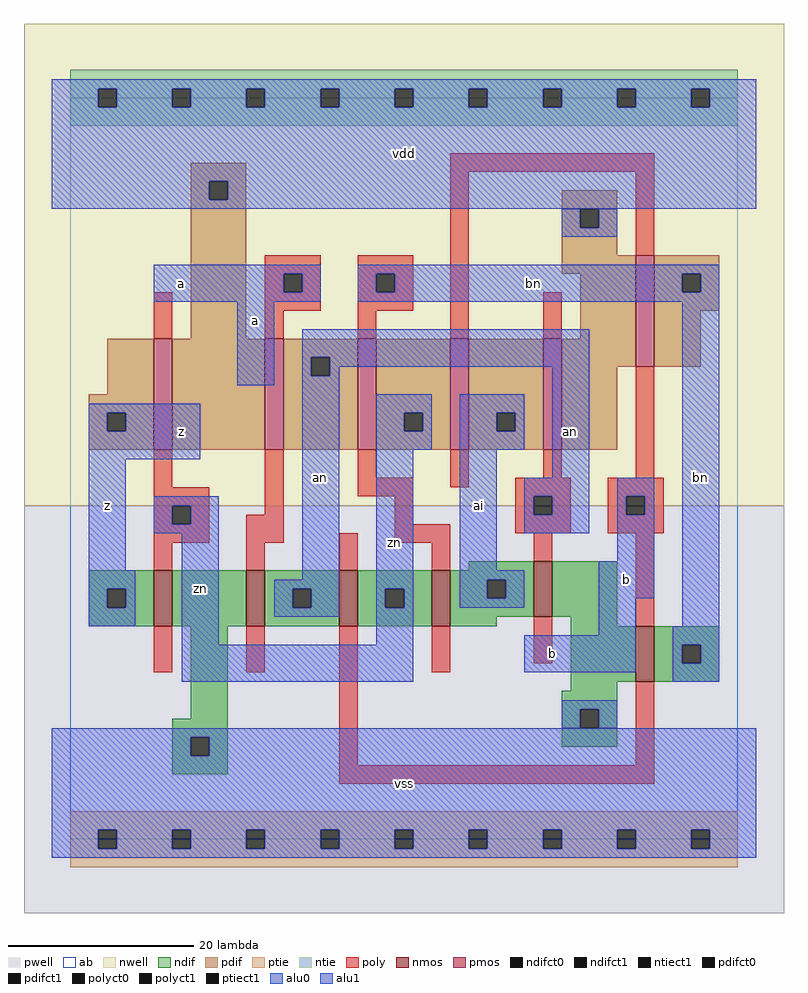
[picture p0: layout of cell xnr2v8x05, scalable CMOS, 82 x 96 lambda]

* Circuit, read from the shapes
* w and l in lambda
.subckt xnr2v8x05 a ai an b bn vdd vss z zn
M1 vss zn z vss nfet w=6 l=2
M2 an a vss vss nfet w=6 l=2
M3 zn b an vss nfet w=6 l=2
M4 ai bn zn vss nfet w=6 l=2
M5 vss an ai vss nfet w=6 l=2
M6 bn b vss vss nfet w=6 l=2
M7 vdd zn z vdd pfet w=12 l=2
M8 an a vdd vdd pfet w=12 l=2
M9 zn bn an vdd pfet w=12 l=2
M10 ai b zn vdd pfet w=12 l=2
M11 vdd an ai vdd pfet w=12 l=2
M12 bn b vdd vdd pfet w=12 l=2
.ends

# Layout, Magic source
magic
tech scmos
<< ab >>
rect 0 0 72 80
<< nwell >>
rect -5 36 77 88
<< pwell >>
rect -5 -8 77 36
<< poly >>
rect 9 54 11 59
rect 41 72 63 74
rect 21 61 27 63
rect 21 59 23 61
rect 25 59 27 61
rect 21 57 27 59
rect 31 61 37 63
rect 31 59 33 61
rect 35 59 37 61
rect 31 57 37 59
rect 21 54 23 57
rect 31 54 33 57
rect 41 54 43 72
rect 61 63 63 72
rect 51 54 53 59
rect 9 38 11 42
rect 9 36 15 38
rect 9 34 11 36
rect 13 34 15 36
rect 21 35 23 42
rect 31 39 33 42
rect 31 37 37 39
rect 41 38 43 42
rect 51 39 53 42
rect 61 39 63 51
rect 9 32 15 34
rect 19 32 23 35
rect 35 34 37 37
rect 48 37 54 39
rect 48 35 50 37
rect 52 35 54 37
rect 9 29 11 32
rect 19 29 21 32
rect 29 29 31 33
rect 35 32 41 34
rect 48 33 54 35
rect 58 37 64 39
rect 58 35 60 37
rect 62 35 64 37
rect 58 33 64 35
rect 39 29 41 32
rect 50 30 52 33
rect 9 18 11 23
rect 19 18 21 23
rect 29 8 31 23
rect 39 18 41 23
rect 50 19 52 24
rect 61 23 63 33
rect 61 8 63 17
rect 29 6 63 8
<< ndif >>
rect 43 29 50 30
rect 2 27 9 29
rect 2 25 4 27
rect 6 25 9 27
rect 2 23 9 25
rect 11 23 19 29
rect 21 27 29 29
rect 21 25 24 27
rect 26 25 29 27
rect 21 23 29 25
rect 31 27 39 29
rect 31 25 34 27
rect 36 25 39 27
rect 31 23 39 25
rect 41 28 50 29
rect 41 26 45 28
rect 47 26 50 28
rect 41 24 50 26
rect 52 24 59 30
rect 41 23 46 24
rect 13 13 17 23
rect 11 11 17 13
rect 11 9 13 11
rect 15 9 17 11
rect 11 7 17 9
rect 54 23 59 24
rect 54 17 61 23
rect 63 21 70 23
rect 63 19 66 21
rect 68 19 70 21
rect 63 17 70 19
rect 54 16 59 17
rect 53 14 59 16
rect 53 12 55 14
rect 57 12 59 14
rect 53 10 59 12
<< pdif >>
rect 13 71 19 73
rect 13 69 15 71
rect 17 69 19 71
rect 13 54 19 69
rect 53 68 59 70
rect 53 66 55 68
rect 57 66 59 68
rect 53 63 59 66
rect 53 61 61 63
rect 55 54 61 61
rect 4 48 9 54
rect 2 46 9 48
rect 2 44 4 46
rect 6 44 9 46
rect 2 42 9 44
rect 11 42 21 54
rect 23 52 31 54
rect 23 50 26 52
rect 28 50 31 52
rect 23 42 31 50
rect 33 46 41 54
rect 33 44 36 46
rect 38 44 41 46
rect 33 42 41 44
rect 43 46 51 54
rect 43 44 46 46
rect 48 44 51 46
rect 43 42 51 44
rect 53 51 61 54
rect 63 61 70 63
rect 63 59 66 61
rect 68 59 70 61
rect 63 57 70 59
rect 63 51 68 57
rect 53 42 59 51
<< alu1 >>
rect -2 81 74 82
rect -2 79 3 81
rect 5 79 11 81
rect 13 79 19 81
rect 21 79 27 81
rect 29 79 35 81
rect 37 79 43 81
rect 45 79 51 81
rect 53 79 59 81
rect 61 79 67 81
rect 69 79 74 81
rect -2 71 74 79
rect -2 69 15 71
rect 17 69 74 71
rect -2 68 74 69
rect 9 61 27 62
rect 9 59 23 61
rect 25 59 27 61
rect 9 58 27 59
rect 18 49 22 58
rect 2 46 14 47
rect 2 44 4 46
rect 6 44 14 46
rect 2 41 14 44
rect 2 29 6 41
rect 2 27 7 29
rect 2 25 4 27
rect 6 25 7 27
rect 2 23 7 25
rect 59 37 63 39
rect 59 35 60 37
rect 62 35 63 37
rect 59 30 63 35
rect 57 26 63 30
rect 57 22 61 26
rect 49 18 61 22
rect -2 11 74 12
rect -2 9 13 11
rect 15 9 74 11
rect -2 1 74 9
rect -2 -1 3 1
rect 5 -1 11 1
rect 13 -1 19 1
rect 21 -1 27 1
rect 29 -1 35 1
rect 37 -1 43 1
rect 45 -1 51 1
rect 53 -1 59 1
rect 61 -1 67 1
rect 69 -1 74 1
rect -2 -2 74 -1
<< ptie >>
rect 0 1 72 3
rect 0 -1 3 1
rect 5 -1 11 1
rect 13 -1 19 1
rect 21 -1 27 1
rect 29 -1 35 1
rect 37 -1 43 1
rect 45 -1 51 1
rect 53 -1 59 1
rect 61 -1 67 1
rect 69 -1 72 1
rect 0 -3 72 -1
<< ntie >>
rect 0 81 72 83
rect 0 79 3 81
rect 5 79 11 81
rect 13 79 19 81
rect 21 79 27 81
rect 29 79 35 81
rect 37 79 43 81
rect 45 79 51 81
rect 53 79 59 81
rect 61 79 67 81
rect 69 79 72 81
rect 0 77 72 79
<< nmos >>
rect 9 23 11 29
rect 19 23 21 29
rect 29 23 31 29
rect 39 23 41 29
rect 50 24 52 30
rect 61 17 63 23
<< pmos >>
rect 9 42 11 54
rect 21 42 23 54
rect 31 42 33 54
rect 41 42 43 54
rect 51 42 53 54
rect 61 51 63 63
<< polyct0 >>
rect 33 59 35 61
rect 11 34 13 36
rect 50 35 52 37
<< polyct1 >>
rect 23 59 25 61
rect 60 35 62 37
<< ndifct0 >>
rect 24 25 26 27
rect 34 25 36 27
rect 45 26 47 28
rect 66 19 68 21
rect 55 12 57 14
<< ndifct1 >>
rect 4 25 6 27
rect 13 9 15 11
<< ntiect1 >>
rect 3 79 5 81
rect 11 79 13 81
rect 19 79 21 81
rect 27 79 29 81
rect 35 79 37 81
rect 43 79 45 81
rect 51 79 53 81
rect 59 79 61 81
rect 67 79 69 81
<< ptiect1 >>
rect 3 -1 5 1
rect 11 -1 13 1
rect 19 -1 21 1
rect 27 -1 29 1
rect 35 -1 37 1
rect 43 -1 45 1
rect 51 -1 53 1
rect 59 -1 61 1
rect 67 -1 69 1
<< pdifct0 >>
rect 55 66 57 68
rect 26 50 28 52
rect 36 44 38 46
rect 46 44 48 46
rect 66 59 68 61
<< pdifct1 >>
rect 15 69 17 71
rect 4 44 6 46
<< alu0 >>
rect 53 66 55 68
rect 57 66 59 68
rect 53 65 59 66
rect 31 61 70 62
rect 31 59 33 61
rect 35 59 66 61
rect 68 59 70 61
rect 31 58 70 59
rect 25 52 56 55
rect 25 50 26 52
rect 28 51 56 52
rect 28 50 29 51
rect 9 36 16 37
rect 9 34 11 36
rect 13 34 16 36
rect 9 33 16 34
rect 12 21 16 33
rect 25 28 29 50
rect 22 27 29 28
rect 22 25 24 27
rect 26 25 29 27
rect 22 24 29 25
rect 33 46 39 48
rect 33 44 36 46
rect 38 44 39 46
rect 33 42 39 44
rect 42 46 49 48
rect 42 44 46 46
rect 48 44 49 46
rect 42 42 49 44
rect 33 27 37 42
rect 33 25 34 27
rect 36 25 37 27
rect 42 29 46 42
rect 52 39 56 51
rect 49 37 56 39
rect 49 35 50 37
rect 52 35 56 37
rect 49 33 56 35
rect 42 28 49 29
rect 42 26 45 28
rect 47 26 49 28
rect 42 25 49 26
rect 33 21 37 25
rect 66 23 70 58
rect 12 17 37 21
rect 65 21 70 23
rect 65 19 66 21
rect 68 19 70 21
rect 65 17 70 19
rect 53 14 59 15
rect 53 12 55 14
rect 57 12 59 14
<< labels >>
rlabel alu0 14 27 14 27 6 zn
rlabel alu0 27 39 27 39 6 an
rlabel alu0 44 36 44 36 6 ai
rlabel alu0 35 32 35 32 6 zn
rlabel alu0 54 44 54 44 6 an
rlabel alu0 50 60 50 60 6 bn
rlabel alu0 68 39 68 39 6 bn
rlabel alu1 4 36 4 36 6 z
rlabel alu1 12 44 12 44 6 z
rlabel alu1 12 60 12 60 6 a
rlabel alu1 20 56 20 56 6 a
rlabel alu1 36 6 36 6 6 vss
rlabel alu1 52 20 52 20 6 b
rlabel alu1 36 74 36 74 6 vdd
rlabel alu1 60 28 60 28 6 b
<< end >>
